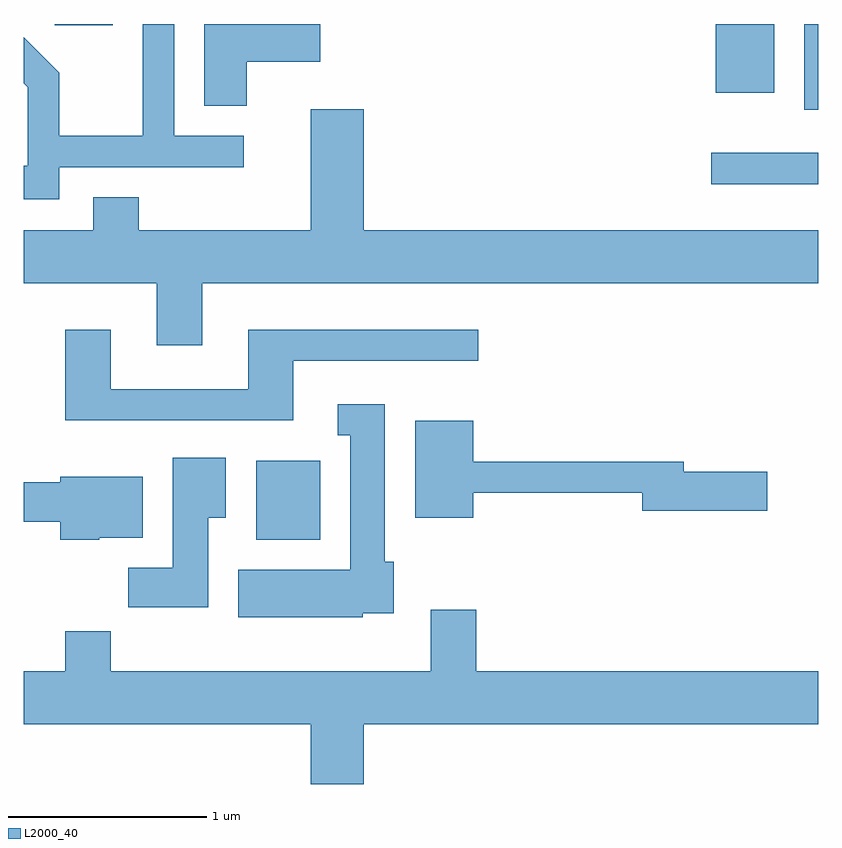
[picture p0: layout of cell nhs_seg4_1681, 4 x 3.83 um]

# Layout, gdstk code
import gdstk
lib = gdstk.Library(unit=1e-6, precision=1e-09)
def R(c, l, rs):  # rectangles x0, y0, x1, y1
    for r in rs: c.add(gdstk.rectangle(r[:2], r[2:], *l))
def P(c, l, *ps):  # polygons
    for p in ps: c.add(gdstk.Polygon(p, *l))
L2000_40 = (2000, 40)

nhs_seg4_1681 = lib.new_cell('nhs_seg4_1681')
R(nhs_seg4_1681, L2000_40, [(234.781,1353.386,235.104,1353.784), (237.073,1355.176,237.611,1355.334), (237.541,1355.551,237.611,1355.982), (237.096,1355.636,237.389,1355.982), (233.766,1355.976,234.059,1355.982)])
P(nhs_seg4_1681, L2000_40, [(234.734,1355.791),(235.104,1355.791),(235.104,1355.982),(234.521,1355.982),(234.521,1355.571),(234.734,1355.571)],
  [(233.789,1355.261),(234.718,1355.261),(234.718,1355.419),(234.369,1355.419),(234.369,1355.982),(234.211,1355.982),(234.211,1355.419),(233.789,1355.419),(233.789,1355.737),(233.611,1355.915),(233.611,1355.684),(233.631,1355.664),(233.631,1355.269),(233.611,1355.269),(233.611,1355.101),(233.789,1355.101)],
  [(234.509,1354.676),(237.611,1354.676),(237.611,1354.944),(235.324,1354.944),(235.324,1355.554),(235.056,1355.554),(235.056,1354.944),(234.189,1354.944),(234.189,1355.109),(233.961,1355.109),(233.961,1354.944),(233.611,1354.944),(233.611,1354.676),(234.281,1354.676),(234.281,1354.366),(234.509,1354.366)],
  [(234.969,1354.286),(235.898,1354.286),(235.898,1354.444),(234.741,1354.444),(234.741,1354.144),(234.049,1354.144),(234.049,1354.444),(233.821,1354.444),(233.821,1353.986),(234.969,1353.986)],
  [(235.319,1353.016),(235.474,1353.016),(235.474,1353.274),(235.429,1353.274),(235.429,1354.069),(235.193,1354.069),(235.193,1353.911),(235.256,1353.911),(235.256,1353.234),(234.691,1353.234),(234.691,1352.996),(235.319,1352.996)],
  [(235.874,1353.621),(236.726,1353.621),(236.726,1353.531),(237.354,1353.531),(237.354,1353.729),(236.934,1353.729),(236.934,1353.779),(235.874,1353.779),(235.874,1353.984),(235.581,1353.984),(235.581,1353.496),(235.874,1353.496)],
  [(234.539,1353.496),(234.629,1353.496),(234.629,1353.799),(234.361,1353.799),(234.361,1353.244),(234.136,1353.244),(234.136,1353.046),(234.539,1353.046)],
  [(233.99,1353.396),(234.209,1353.396),(234.209,1353.704),(233.796,1353.704),(233.796,1353.674),(233.611,1353.674),(233.611,1353.476),(233.796,1353.476),(233.796,1353.386),(233.99,1353.386)],
  [(235.324,1352.456),(237.611,1352.456),(237.611,1352.724),(235.889,1352.724),(235.889,1353.034),(235.661,1353.034),(235.661,1352.724),(234.049,1352.724),(234.049,1352.924),(233.821,1352.924),(233.821,1352.724),(233.611,1352.724),(233.611,1352.456),(235.056,1352.456),(235.056,1352.156),(235.324,1352.156)])

lib.write_gds('nhs_seg4_1681.gds')
